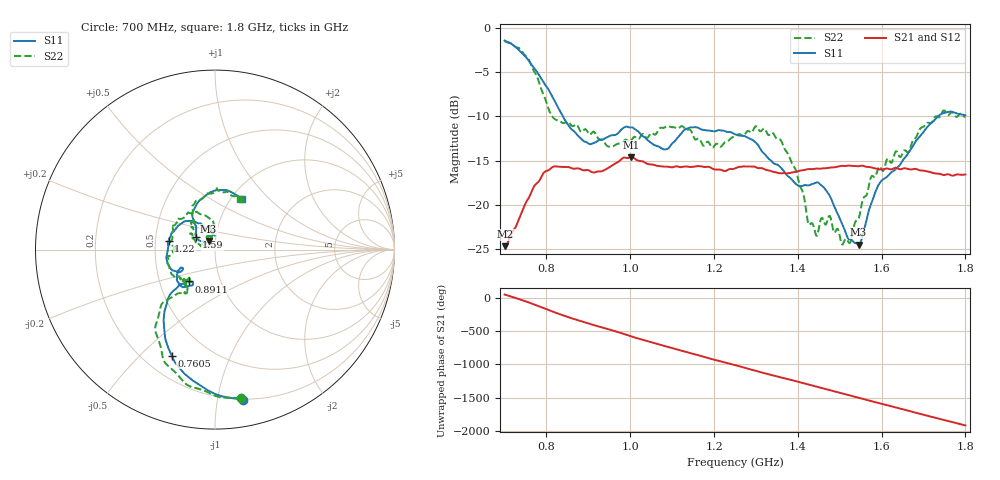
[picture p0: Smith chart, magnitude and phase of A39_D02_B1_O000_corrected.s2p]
! Created with skrf 1.9.0 (http://scikit-rf.org).
# Hz S RI R 50.0
!freq ReS11 ImS11 ReS21 ImS21 ReS12 ImS12 ReS22 ImS22
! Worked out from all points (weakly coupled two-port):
!   1601 points, 700 MHz to 1.8 GHz, reference 50 ohm
!   highest |S21| = -14.60 dB at 1.002 GHz (marker M1); lowest = -24.7 dB at 701.4 MHz (marker M2)
!   lowest |S11| = -24.5 dB at 1.545 GHz (marker M3), VSWR 1.13, Z = 46.3 + j4.42 ohm
!   |S11| at or under -10 dB: 839.3 MHz to 1.734 GHz (894.9 MHz wide, 69.5 % of centre)
!   |S22| runs from -24.5 to -1.5 dB; largest |S21 - S12| = 0.0034
!   S11 on the Smith chart (normalised r, x): 700 MHz: 0.20, -1.19; 760.5 MHz: 0.31, -0.62; 891.1 MHz: 0.71, -0.26; 1.22 GHz: 0.59, +0.06; 1.59 GHz: 0.80, +0.12; 1.8 GHz: 1.12, +0.71
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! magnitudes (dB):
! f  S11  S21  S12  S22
! 700 MHz  -1.4  -24.7  -24.4  -1.5
! 701.4 MHz  -1.4  -24.7  -24.3  -1.5
! 760.5 MHz  -3.9  -18.9  -18.8  -3.9
! 814.1 MHz  -7.8  -15.7  -15.8  -10.0
! 883.6 MHz  -12.6  -16.0  -15.9  -11.8
! 891.1 MHz  -12.8  -16.1  -16.1  -11.4
! 949.6 MHz  -12.2  -15.7  -15.8  -13.4
! 1.002 GHz  -11.2  -14.6  -14.7  -12.7
! 1.067 GHz  -13.4  -15.6  -15.5  -11.5
! 1.141 GHz  -11.3  -15.7  -15.7  -11.5
! 1.22 GHz  -11.6  -16.1  -16.1  -13.3
! 1.25 GHz  -12.0  -15.9  -15.8  -12.3
! 1.3 GHz  -13.0  -15.7  -15.7  -11.1
! 1.359 GHz  -15.7  -16.4  -16.4  -12.6
! 1.434 GHz  -17.6  -16.0  -15.9  -22.1
! 1.471 GHz  -18.6  -15.8  -15.8  -21.7
! 1.522 GHz  -23.9  -15.6  -15.6  -24.3
! 1.545 GHz  -24.5  -15.6  -15.6  -21.6
! 1.59 GHz  -18.0  -15.9  -15.9  -16.0
! 1.617 GHz  -16.6  -15.9  -15.9  -14.8
! 1.737 GHz  -9.9  -16.5  -16.5  -10.1
! 1.8 GHz  -9.9  -16.6  -16.6  -10.0
